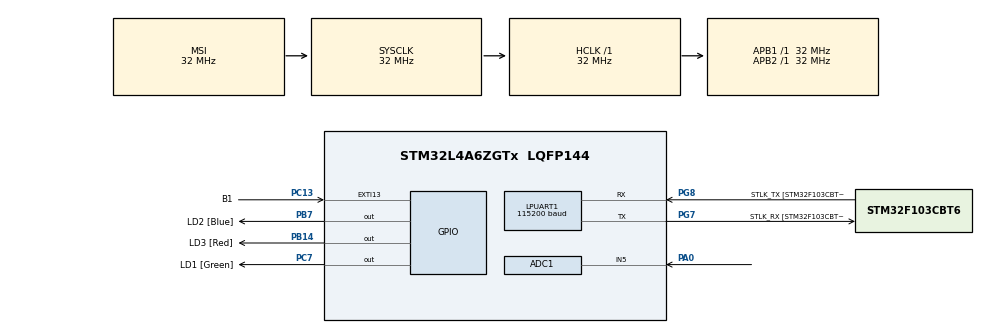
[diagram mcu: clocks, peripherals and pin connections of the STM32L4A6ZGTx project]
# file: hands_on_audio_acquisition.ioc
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ADC1.Channel-0\#ChannelRegularConversion=ADC_CHANNEL_5
ADC1.DMAContinuousRequests=ENABLE
ADC1.ExternalTrigConv=ADC_EXTERNALTRIG_T3_TRGO
ADC1.NbrOfConversionFlag=1
ADC1.OffsetNumber-0\#ChannelRegularConversion=ADC_OFFSET_NONE
ADC1.Rank-0\#ChannelRegularConversion=1
ADC1.SamplingTime-0\#ChannelRegularConversion=ADC_SAMPLETIME_2CYCLES_5
ADC1.master=1
Dma.ADC1.0.Direction=DMA_PERIPH_TO_MEMORY
Dma.ADC1.0.Instance=DMA1_Channel1
Dma.ADC1.0.MemDataAlignment=DMA_MDATAALIGN_HALFWORD
Dma.ADC1.0.MemInc=DMA_MINC_ENABLE
Dma.ADC1.0.Mode=DMA_CIRCULAR
Dma.ADC1.0.PeriphDataAlignment=DMA_PDATAALIGN_HALFWORD
Dma.ADC1.0.PeriphInc=DMA_PINC_DISABLE
Dma.ADC1.0.Priority=DMA_PRIORITY_LOW
Dma.Request0=ADC1
LPUART1.AutoBaudRateEnableParam=UART_ADVFEATURE_AUTOBAUDRATE_DISABLE
LPUART1.BaudRate=115200
LPUART1.DMADisableonRxErrorParam=UART_ADVFEATURE_DMA_ENABLEONRXERROR
LPUART1.DataInvertParam=UART_ADVFEATURE_DATAINV_DISABLE
LPUART1.MSBFirstParam=UART_ADVFEATURE_MSBFIRST_DISABLE
LPUART1.Mode=UART_MODE_TX_RX
LPUART1.OneBitSampling=UART_ONE_BIT_SAMPLE_DISABLE
LPUART1.OverrunDisableParam=UART_ADVFEATURE_OVERRUN_ENABLE
LPUART1.Parity=UART_PARITY_NONE
LPUART1.RxPinLevelInvertParam=UART_ADVFEATURE_RXINV_DISABLE
LPUART1.StopBits=UART_STOPBITS_1
LPUART1.SwapParam=UART_ADVFEATURE_SWAP_DISABLE
LPUART1.TxPinLevelInvertParam=UART_ADVFEATURE_TXINV_DISABLE
LPUART1.WordLength=UART_WORDLENGTH_8B
Mcu.Family=STM32L4
Mcu.Name=STM32L4A6ZGTx
Mcu.Package=LQFP144
NVIC.DMA1_Channel1_IRQn=true\:0\:0\:false\:false\:true\:false\:true\:true
NVIC.EXTI15_10_IRQn=true\:0\:0\:false\:false\:true\:true\:true\:true
NVIC.PriorityGroup=NVIC_PRIORITYGROUP_4
PA0.Signal=ADCx_IN5
PA13\ (JTMS/SWDIO).GPIO_Label=TMS
PA13\ (JTMS/SWDIO).Mode=Trace_Asynchronous_SW
PA13\ (JTMS/SWDIO).Signal=SYS_JTMS-SWDIO
PA14\ (JTCK/SWCLK).GPIO_Label=TCK
PA14\ (JTCK/SWCLK).Mode=Trace_Asynchronous_SW
PA14\ (JTCK/SWCLK).Signal=SYS_JTCK-SWCLK
PB14.GPIO_Label=LD3 [Red]
PB14.Signal=GPIO_Output
PB3\ (JTDO/TRACESWO).GPIO_Label=SWO
PB3\ (JTDO/TRACESWO).Mode=Trace_Asynchronous_SW
PB3\ (JTDO/TRACESWO).Signal=SYS_JTDO-SWO
PB7.GPIO_Label=LD2 [Blue]
PB7.Signal=GPIO_Output
PC13.GPIO_Label=B1
PC13.Signal=GPXTI13
PC14-OSC32_IN\ (PC14).Mode=LSE-External-Oscillator
PC14-OSC32_IN\ (PC14).Signal=RCC_OSC32_IN
PC15-OSC32_OUT\ (PC15).Mode=LSE-External-Oscillator
PC15-OSC32_OUT\ (PC15).Signal=RCC_OSC32_OUT
PC7.GPIO_Label=LD1 [Green]
PC7.Signal=GPIO_Output
PG7.GPIO_Label=STLK_RX [STM32F103CBT6_PA3]
PG7.Mode=Asynchronous
PG7.Signal=LPUART1_TX
PG8.GPIO_Label=STLK_TX [STM32F103CBT6_PA2]
PG8.Mode=Asynchronous
PG8.Signal=LPUART1_RX
PH1-OSC_OUT\ (PH1).Signal=RCC_OSC_OUT
ProjectManager.HeapSize=0x200
ProjectManager.StackSize=0x400
ProjectManager.TargetToolchain=STM32CubeIDE
RCC.ADCCLockSelection=RCC_ADCCLKSOURCE_SYSCLK
RCC.ADCFreq_Value=32000000
RCC.AHBFreq_Value=32000000
RCC.APB1Freq_Value=32000000
RCC.APB1TimFreq_Value=32000000
RCC.APB2Freq_Value=32000000
RCC.APB2TimFreq_Value=32000000
RCC.CortexFreq_Value=32000000
RCC.FLatency=FLASH_LATENCY_1
RCC.HCLKFreq_Value=32000000
RCC.HSE_VALUE=8000000
RCC.HSI48_VALUE=48000000
RCC.HSI_VALUE=16000000
RCC.MSIClockRange=RCC_MSIRANGE_10
RCC.MSI_VALUE=32000000
RCC.PLLN=71
RCC.PLLR=RCC_PLLR_DIV6
RCC.PLLSAI1N=24
RCC.SYSCLKFreq_VALUE=32000000
RCC.USBFreq_Value=384000000
RCC.VCOOutputFreq_Value=2272000000
SH.ADCx_IN5.0=ADC1_IN5,IN5-Single-Ended
TIM3.Period=195
TIM3.Prescaler=15
TIM3.TIM_MasterOutputTrigger=TIM_TRGO_UPDATE
VP_TIM3_VS_ClockSourceINT.Mode=Internal
board=NUCLEO-L4A6ZG

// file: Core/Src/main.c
/* USER CODE BEGIN Header */
/**
  ******************************************************************************
  * @file           : main.c
  * @brief          : Main program body
  ******************************************************************************
  * @attention
  *
  * <h2><center>&copy; Copyright (c) 2021 STMicroelectronics.
  * All rights reserved.</center></h2>
  *
  * This software component is licensed by ST under BSD 3-Clause license,
  * the "License"; You may not use this file except in compliance with the
  * License. You may obtain a copy of the License at:
  *                        opensource.org/licenses/BSD-3-Clause
  *
  ******************************************************************************
  */
/* USER CODE END Header */
#include "main.h"
#include "adc.h"
#include "dma.h"
#include "usart.h"
#include "tim.h"
#include "gpio.h"

/* USER CODE BEGIN Includes */
#include <stdio.h>
#include "retarget.h"
/* USER CODE END Includes */

/* USER CODE BEGIN PD */
#define ADC_BUF_SIZE 30000 //default: 10000
/* USER CODE END PD */

/* USER CODE BEGIN PV */
volatile int state;
volatile uint16_t ADCBuffer[2*ADC_BUF_SIZE]; /* ADC group regular conversion data (array of data) */
volatile uint16_t* ADCData1;
volatile uint16_t* ADCData2;
// volatile uint32_t power = 51;
volatile uint8_t buffer[1]; //to receive data

//volatile uint32_t ADC_value;

char hex_encoded_buffer[4*ADC_BUF_SIZE+1];
/* USER CODE END PV */

void SystemClock_Config(void);
/* USER CODE BEGIN PFP */
void hex_encode(char* s, const uint8_t* buf, size_t len);
void print_buffer(uint16_t *buffer);
uint32_t get_signal_power(uint16_t *buffer, size_t len);
/* USER CODE END PFP */

/* USER CODE BEGIN 0 */
void HAL_GPIO_EXTI_Callback(uint16_t GPIO_Pin) {
	if (GPIO_Pin == B1_Pin) {
		state = 1-state;

		/*
		HAL_ADC_Start(&hadc1); // start acquisition
		uint32_t err = HAL_ADC_PollForConversion(&hadc1,0xFFFF); // triggers and store in the reg
		if (err == HAL_OK){
			ADC_value = HAL_ADC_GetValue(&hadc1);
		}
		HAL_ADC_Stop(&hadc1);
		*/

		HAL_TIM_Base_Start(&htim3);
		HAL_ADC_Start_DMA(&hadc1, (uint32_t *)ADCBuffer, 2*ADC_BUF_SIZE);
	}
}

void HAL_ADC_ConvCpltCallback(ADC_HandleTypeDef *hadc) {
//	if( power > 50 ){
//		power = 0;
//		print_buffer((uint16_t *) ADCData2);
//		HAL_TIM_Base_Stop(&htim3);
//		HAL_ADC_Stop_DMA(&hadc1);
//	}
//	//HAL_TIM_Base_Stop(&htim3);
//	//HAL_ADC_Stop_DMA(&hadc1);
//	else{
//		power = get_signal_power((uint16_t *) ADCData2, ADC_BUF_SIZE);
//		printf("power = %ld \n", power);
//	}
//	//print_buffer(ADCBuffer);
}

void HAL_ADC_ConvHalfCpltCallback(ADC_HandleTypeDef *hadc){
	HAL_GPIO_WritePin(LD2_GPIO_Port, LD2_Pin, GPIO_PIN_SET);
	HAL_TIM_Base_Stop(&htim3);
	HAL_ADC_Stop_DMA(&hadc1);
	print_buffer((uint16_t *) ADCData1);
	HAL_GPIO_WritePin(LD2_GPIO_Port, LD2_Pin, GPIO_PIN_RESET);

//	if( power > 50 ){
//		power = 0;
//		print_buffer((uint16_t *) ADCData1);
//		HAL_TIM_Base_Stop(&htim3);
//		HAL_ADC_Stop_DMA(&hadc1);
//	}
//	else{
//		power = get_signal_power((uint16_t *) ADCData1, ADC_BUF_SIZE);
//		printf("power = %ld \n", power);
//	}

}

void hex_encode(char* s, const uint8_t* buf, size_t len) {
    s[2*len] = '\0'; // A string terminated by a zero char.
    for (size_t i=0; i<len; i++) {
        s[i*2] = "0123456789abcdef"[buf[i] >> 4];
        s[i*2+1] = "0123456789abcdef"[buf[i] & 0xF];
    }
}

void print_buffer(uint16_t *buffer) {
	hex_encode(hex_encoded_buffer, (uint8_t*)buffer, 2*ADC_BUF_SIZE);
	printf("SND:HEX:%s\r\n", hex_encoded_buffer);
}

uint32_t get_signal_power(uint16_t *buffer, size_t len){
	uint64_t sum = 0;
	uint64_t sum2 = 0;
	for (size_t i=0; i<len; i++) {
		sum += (uint64_t) buffer[i];
		sum2 += (uint64_t) buffer[i]*(uint64_t) buffer[i];
	}
	return (uint32_t)(sum2/len - sum*sum/len/len);
}
/* USER CODE END 0 */

int main(void)
{

  /* MCU Configuration--------------------------------------------------------*/

  /* Reset of all peripherals, Initializes the Flash interface and the Systick. */
  HAL_Init();

  /* Configure the system clock */
  SystemClock_Config();

  /* Initialize all configured peripherals */
  MX_GPIO_Init();
  MX_DMA_Init();
  MX_LPUART1_UART_Init();
  MX_ADC1_Init();
  MX_TIM3_Init();
  /* USER CODE BEGIN 2 */
  RetargetInit(&hlpuart1);
  printf("Hello world!\r\n");
  state=0;
  ADCData1 = &ADCBuffer[0];
  ADCData2 = &ADCBuffer[ADC_BUF_SIZE];
  /* USER CODE END 2 */

  /* Infinite loop */
  /* USER CODE BEGIN WHILE */
  while (1)
  {
	  HAL_UART_Receive(&hlpuart1, buffer, 1, 60000);

	  //__WFI();
	HAL_GPIO_WritePin(LD2_GPIO_Port, LD2_Pin, GPIO_PIN_SET);
	HAL_Delay(500);
	HAL_GPIO_WritePin(LD2_GPIO_Port, LD2_Pin, GPIO_PIN_RESET);
	HAL_Delay(500);
	//printf("ADC_value = %lu \n", ADC_value);
    /* USER CODE END WHILE */

  }
}

void SystemClock_Config(void)
{
  RCC_OscInitTypeDef RCC_OscInitStruct = {0};
  RCC_ClkInitTypeDef RCC_ClkInitStruct = {0};

  /** Configure the main internal regulator output voltage
  */
  if (HAL_PWREx_ControlVoltageScaling(PWR_REGULATOR_VOLTAGE_SCALE1) != HAL_OK)
  {
    Error_Handler();
  }

  /** Initializes the RCC Oscillators according to the specified parameters
  * in the RCC_OscInitTypeDef structure.
  */
  RCC_OscInitStruct.OscillatorType = RCC_OSCILLATORTYPE_MSI;
  RCC_OscInitStruct.MSIState = RCC_MSI_ON;
  RCC_OscInitStruct.MSICalibrationValue = 0;
  RCC_OscInitStruct.MSIClockRange = RCC_MSIRANGE_10;
  RCC_OscInitStruct.PLL.PLLState = RCC_PLL_NONE;
  if (HAL_RCC_OscConfig(&RCC_OscInitStruct) != HAL_OK)
  {
    Error_Handler();
  }

  /** Initializes the CPU, AHB and APB buses clocks
  */
  RCC_ClkInitStruct.ClockType = RCC_CLOCKTYPE_HCLK|RCC_CLOCKTYPE_SYSCLK
                              |RCC_CLOCKTYPE_PCLK1|RCC_CLOCKTYPE_PCLK2;
  RCC_ClkInitStruct.SYSCLKSource = RCC_SYSCLKSOURCE_MSI;
  RCC_ClkInitStruct.AHBCLKDivider = RCC_SYSCLK_DIV1;
  RCC_ClkInitStruct.APB1CLKDivider = RCC_HCLK_DIV1;
  RCC_ClkInitStruct.APB2CLKDivider = RCC_HCLK_DIV1;

  if (HAL_RCC_ClockConfig(&RCC_ClkInitStruct, FLASH_LATENCY_1) != HAL_OK)
  {
    Error_Handler();
  }
}

void Error_Handler(void)
{
  __disable_irq();
  while (1)
  {
  }
}
